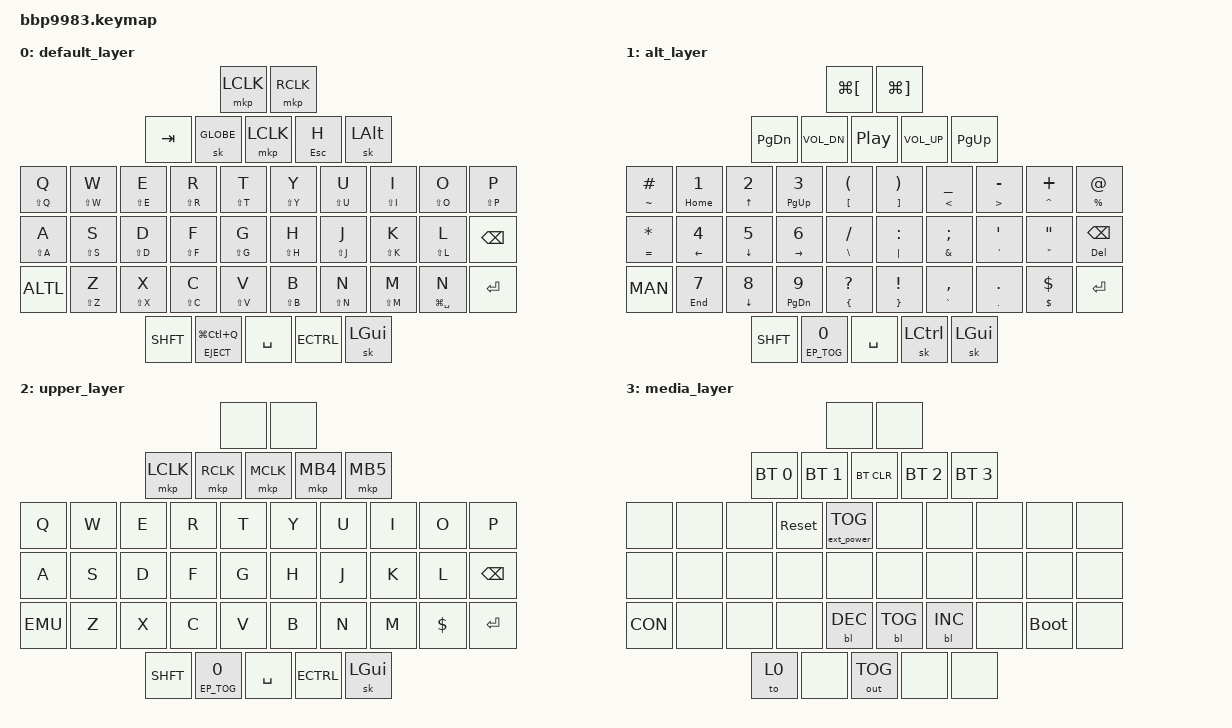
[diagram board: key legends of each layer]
 /*
 * Copyright (c) 2023 ZitaoTech
 * "BlueBerry" Android Layout by Drexel Macintosh     
 * SPDX-License-Identifier: MIT
 */
#include <behaviors.dtsi>
#include <dt-bindings/zmk/keys.h>
#include <dt-bindings/zmk/bt.h>
#include <dt-bindings/zmk/outputs.h>
#include <dt-bindings/zmk/mouse.h>
#include <dt-bindings/zmk/backlight.h>
#include <dt-bindings/zmk/ext_power.h>
 
#define ALT 1
#define UPPER 2
#define MEDIA 3

// Standard Behavior Configurations:

&mt {
    flavor = "tap-preferred";
    tapping-term-ms = <200>;
    };

&sk{
    release-after-ms = <2500>;
    };

&sl {
    release-after-ms = <2500>;
    };

/ {

//Behaviors Start Here:

    behaviors {

// Tap Dance Behaviors

        td0: tap_dance_0 {
            compatible = "zmk,behavior-tap-dance";
            #binding-cells = <0>;
            tapping-term-ms = <300>;
            bindings = <&mkp LCLK>, <&bt BT_CLR>;
        };

        ALTL: tap_dance_1 {
            compatible = "zmk,behavior-tap-dance";
            #binding-cells = <0>;
            tapping-term-ms = <300>;
            bindings = <&sl ALT>, <&to ALT>;
        };

        SHFT: tap_dance_2 {
            compatible = "zmk,behavior-tap-dance";
            #binding-cells = <0>;
            tapping-term-ms = <300>;
            bindings = <&sk LSHFT>, <&kp CLCK>;
        };

        MED: tap_dance_3 {
            compatible = "zmk,behavior-tap-dance";
            #binding-cells = <0>;
            tapping-term-ms = <250>;
            bindings = <&to 0>, <&to MEDIA>;
        };

        MAN: tap_dance_4 {
            compatible = "zmk,behavior-tap-dance";
            #binding-cells = <0>;
            tapping-term-ms = <250>;
            bindings = <&to 0>, <&to UPPER>;
        };

        EALT: tap_dance_5 {
            compatible = "zmk,behavior-tap-dance";
            #binding-cells = <0>;
            tapping-term-ms = <300>;
            bindings = <&sk LALT>, <&kp LALT>;
        };

        ECTRL: tap_dance_6 {
            compatible = "zmk,behavior-tap-dance";
            #binding-cells = <0>;
            tapping-term-ms = <300>;
            bindings = <&sk LCTRL>, <&kp LC(SPACE)>;
        };

        EMU: tap_dance_7 {
            compatible = "zmk,behavior-tap-dance";
            #binding-cells = <0>;
            tapping-term-ms = <250>;
            bindings = <&to 0>, <&to MEDIA>;
        };

        CON: tap_dance_8 {
            compatible = "zmk,behavior-tap-dance";
            #binding-cells = <0>;
            tapping-term-ms = <250>;
            bindings = <&to 0>, <&to 0>;
        };

// Macro Behaviors

    tap: tap {
      compatible = "zmk,behavior-macro-one-param";
      #binding-cells = <1>;
      bindings = <&macro_param_1to1 &kp MACRO_PLACEHOLDER>;
   	 };

        glo: globe_pseudo_mod {
            compatible = "zmk,behavior-macro-one-param";
            #binding-cells = <1>;
            bindings
                = <&macro_press &kp GLOBE>
                , <&macro_param_1to1>
                , <&macro_tap &kp MACRO_PLACEHOLDER>
                , <&macro_release &kp GLOBE>;
        };

// Hold Tap Behaviors

	KPM: behavior_KPM {
            compatible = "zmk,behavior-hold-tap";
            label = "KPM";
            #binding-cells = <2>;
            flavor = "tap-preferred";
            tapping-term-ms = <400>;
            bindings = <&msc>, <&kp>;
        };

        hm: homerow_mods {
            compatible = "zmk,behavior-hold-tap";
            #binding-cells = <2>;
            tapping-term-ms = <500>;
            bindings = <&out &kp>;
        };

        hm2: homerow_mods_2 {
            compatible = "zmk,behavior-hold-tap";
            #binding-cells = <2>;
            tapping-term-ms = <500>;
            bindings = <&ext_power &kp>;
        };


  	mtt1: mod_tap_tap_l0 {
		compatible = "zmk,behavior-hold-tap";
		#binding-cells = <2>;
	     	flavor = "tap-preferred";
	      	tapping-term-ms = <500>;
	      	quick-tap-ms = <125>;
	      	require-prior-idle-ms = <125>;
	      	bindings = <&tap>, <&tap>;
   	 };

  	mtt: mod_tap_tap {
		compatible = "zmk,behavior-hold-tap";
		#binding-cells = <2>;
	     	flavor = "tap-preferred";
	      	tapping-term-ms = <300>;
	      	quick-tap-ms = <125>;
	      	require-prior-idle-ms = <125>;
	      	bindings = <&tap>, <&tap>;
   	 };

	msk: mod_Stick_Pre {
	      compatible = "zmk,behavior-hold-tap";
	      #binding-cells = <2>;
	      flavor = "tap-preferred";
	      tapping-term-ms = <200>;
	      quick-tap-ms = <125>;
	      require-prior-idle-ms = <125>;
	      bindings = <&sk>, <&kp>;
   	 };

	alt_to: behavior_alt_to {
            compatible = "zmk,behavior-hold-tap";
            label = "alt_to";
            #binding-cells = <2>;
            flavor = "tap-preferred";
            tapping-term-ms = <300>;
            bindings = <&kp>, <&to>;
        };

	glb: mod_tap_glo {
	      compatible = "zmk,behavior-hold-tap";
	      #binding-cells = <2>;
	      flavor = "tap-preferred";
	      tapping-term-ms = <200>;
	      quick-tap-ms = <125>;
	      require-prior-idle-ms = <125>;
	      bindings = <&kp>, <&glo>;
	};

//End Behvaiors here
    };

    keymap {
        compatible = "zmk,keymap";
        default_layer {
            bindings = <

        /*
         *    KEYBOARD LAYOUT - ASCII by KyleBing
         *
                              ---------------------                                                                -------------------------
                             |    Shoulder Key1    |                                                              |      Shoulder Key2      |
                 ---------------------------------------------------------------------------------------------------------------------------------------------------
                |        Call key        |   Blackberry Key    |              Trackpad            |             Back Key           |          Endcall Key           |
                -----------------------------------------------------------------------------------------------------------------------------------------------------
                |     Q      |     W     |     E    |     R    |         T       |       Y        |        U       |       I       |        O        |      P       |
                -----------------------------------------------------------------------------------------------------------------------------------------------------
                |     A      |     S     |     D    |     F    |         G       |       H        |        J       |       K       |        L        |      ←       |
                -----------------------------------------------------------------------------------------------------------------------------------------------------
                 \    alt    |     Z     |     X    |     C    |         V       |       B        |        N       |       M       |        $        |    Enter    /
                   -----------------------------------------------------------------------------------------------------------------------------------------------
                              \      aA        |       0        |                    SPACE                  |          SYM          |         aA    /
                                -------------------------------------------------------------------------------------------------------------------
        */
                 		&mkp LCLK                                                                                	&mkp RCLK

		            &kp  TAB			 &sk GLOBE		      &mkp LCLK			&glb ESC H		 &sk LALT

    &mtt1 LS(Q) Q	&mtt1 LS(W) W      &mtt1 LS(E) E	&mtt1 LS(R) R     &mtt1 LS(T) T	&mtt1 LS(Y) Y	&mtt1 LS(U) U	&mtt1 LS(I) I	&mtt1 LS(O) O	     &mtt1 LS(P) P
    &mtt1 LS(A) A	&mtt1 LS(S) S      &mtt1 LS(D) D	&mtt1 LS(F) F     &mtt1 LS(G) G	&mtt1 LS(H) H	&mtt1 LS(J) J	&mtt1 LS(K) K	&mtt1 LS(L) L         &kp BSPC
    &ALTL		&mtt1 LS(Z) Z      &mtt1 LS(X) X	&mtt1 LS(C) C     &mtt1 LS(V) V	&mtt1 LS(B) B	&mtt1 LS(N) N	&mtt1 LS(M) M	&glb LG(SPACE) N     &kp ENTER

    		         &SHFT				 &mtt1 C_EJECT LG(LC(Q))		&kp SPACE		&ECTRL			 &sk LGUI

            >;
        };


        alt_layer {

            bindings = <        
                		&kp LG(LBKT)                                                                            	 &kp LG(RBKT)

    	         	&kp PG_DN    			 &kp C_VOL_DN		      &kp C_PP			&kp C_VOL_UP	 &kp PG_UP

    &mtt TILDE HASH	   	&mtt HOME N1	   &mtt UP	N2	   &mtt PG_UP   N3	   &mtt LBKT LPAR	&mtt RBKT RPAR	   &mtt LT UNDER     &mtt GT MINUS	 &mtt CARET PLUS	&mtt PERCENT AT
    &mtt EQUAL STAR		&mtt LEFT N4	   &mtt DOWN	N5	   &mtt RIGHT	N6	   &mtt BSLH SLASH	&mtt PIPE COLON	   &mtt AMPS SEMI    &mtt APOS APOS	 &mtt DQT DQT     	&mtt DEL BSPC
    &MAN	      	     	&mtt END N7	   &mtt DOWN	N8	   &mtt PG_DN	N9	   &mtt LBRC QMARK	&mtt RBRC EXCL	   &mtt GRAVE COMMA  &mtt DOT DOT	 &mtt DLLR DLLR 	&kp ENTER
	
    		         &SHFT				 &hm2 EP_TOG N0 		      &kp SPACE			&sk LCTRL		 &sk LGUI


            >;
        };

        upper_layer {

            bindings = <        

		&none													&none
 
    		&mkp LCLK			&mkp RCLK			&mkp MCLK				&mkp MB4				&mkp MB5  

    &kp Q		&kp W     	&kp E    	&kp R	  	  	&kp T			&kp Y		&kp U	    	&kp I	 	 &kp O		&kp P
    &kp A	     	&kp S   	&kp D      	&kp F	 		&kp G		     	&kp H	      	&kp J       	&kp K       	 &kp L		&kp BSPC
    &EMU	 	&kp Z     	&kp X     	&kp C    		&kp V	     		&kp B		&kp N        	&kp M       	 &kp DLLR	&kp ENTER
	
    		&SHFT				 &hm2 EP_TOG N0			&kp SPACE				&ECTRL				&sk LGUI
            >;
        };

        media_layer {

            bindings = <        

		&none													&none

    		&bt BT_SEL 0            	 &bt BT_SEL 1                 &bt BT_CLR                &bt BT_SEL 2             &bt BT_SEL 3

    &none       	&none   	&none     	&sys_reset	&ext_power EP_TOG	   &none         	&none	           &none           &none      	   &none
    &none   		&none	  	&none	 	&none     	&none	          	   &none     	 	&none	           &none	   &none      	   &none
    &CON  		&none    	&none    	&none		&bl BL_DEC       	   &bl BL_TOG   	&bl BL_INC         &none           &bootloader     &none

    		&to  0               		 &none	               	      &out OUT_TOG              &none                    &none

            >;
        };
    };
};
